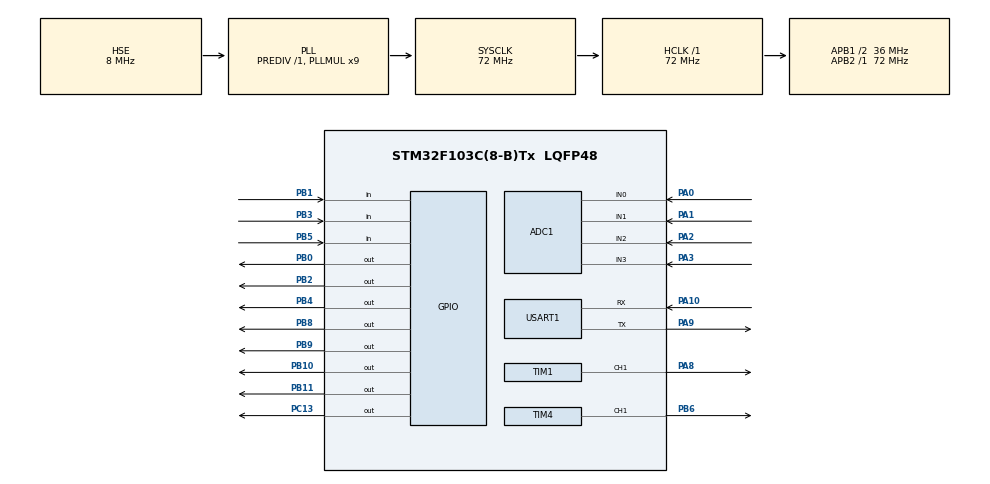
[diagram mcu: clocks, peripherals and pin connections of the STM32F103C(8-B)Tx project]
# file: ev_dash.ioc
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ADC1.Channel-0\#ChannelRegularConversion=ADC_CHANNEL_0
ADC1.ContinuousConvMode=DISABLE
ADC1.NbrOfConversion=1
ADC1.NbrOfConversionFlag=1
ADC1.Rank-0\#ChannelRegularConversion=1
ADC1.SamplingTime-0\#ChannelRegularConversion=ADC_SAMPLETIME_1CYCLE_5
ADC1.master=1
Mcu.Family=STM32F1
Mcu.Name=STM32F103C(8-B)Tx
Mcu.Package=LQFP48
NVIC.PriorityGroup=NVIC_PRIORITYGROUP_4
NVIC.TIM1_UP_IRQn=true\:0\:0\:false\:false\:true\:true\:true\:true
NVIC.TIM3_IRQn=true\:0\:0\:false\:false\:true\:true\:true\:true
PA0-WKUP.Signal=ADCx_IN0
PA1.Signal=ADCx_IN1
PA10.Mode=Asynchronous
PA10.Signal=USART1_RX
PA2.Signal=ADCx_IN2
PA3.Signal=ADCx_IN3
PA8.Signal=S_TIM1_CH1
PA9.Mode=Asynchronous
PA9.Signal=USART1_TX
PB0.Signal=GPIO_Output
PB1.Signal=GPIO_Input
PB10.Signal=GPIO_Output
PB11.Signal=GPIO_Output
PB2.Signal=GPIO_Output
PB3.Signal=GPIO_Input
PB4.Signal=GPIO_Output
PB5.Signal=GPIO_Input
PB6.Signal=S_TIM4_CH1
PB8.Signal=GPIO_Output
PB9.Signal=GPIO_Output
PC13-TAMPER-RTC.Signal=GPIO_Output
PD0-OSC_IN.Mode=HSE-External-Oscillator
PD0-OSC_IN.Signal=RCC_OSC_IN
PD1-OSC_OUT.Mode=HSE-External-Oscillator
PD1-OSC_OUT.Signal=RCC_OSC_OUT
ProjectManager.HeapSize=0x200
ProjectManager.StackSize=0x400
ProjectManager.TargetToolchain=STM32CubeIDE
RCC.ADCPresc=RCC_ADCPCLK2_DIV6
RCC.AHBFreq_Value=72000000
RCC.APB1CLKDivider=RCC_HCLK_DIV2
RCC.APB1Freq_Value=36000000
RCC.APB1TimFreq_Value=72000000
RCC.APB2Freq_Value=72000000
RCC.APB2TimFreq_Value=72000000
RCC.HCLKFreq_Value=72000000
RCC.PLLMUL=RCC_PLL_MUL9
RCC.PLLSourceVirtual=RCC_PLLSOURCE_HSE
RCC.SYSCLKFreq_VALUE=72000000
RCC.SYSCLKSource=RCC_SYSCLKSOURCE_PLLCLK
RCC.USBFreq_Value=72000000
SH.ADCx_IN0.0=ADC1_IN0,IN0
SH.ADCx_IN1.0=ADC1_IN1,IN1
SH.ADCx_IN2.0=ADC1_IN2,IN2
SH.ADCx_IN3.0=ADC1_IN3,IN3
SH.S_TIM1_CH1.0=TIM1_CH1,PWM Generation1 CH1
SH.S_TIM4_CH1.0=TIM4_CH1,PWM Generation1 CH1
TIM1.Channel-PWM\ Generation1\ CH1=TIM_CHANNEL_1
TIM1.Period=9999
TIM1.Prescaler=71
TIM3.Period=999
TIM3.Prescaler=7199
TIM4.Channel-PWM\ Generation1\ CH1=TIM_CHANNEL_1
USART1.VirtualMode=VM_ASYNC
VP_SYS_VS_ND.Mode=No_Debug
VP_TIM1_VS_ClockSourceINT.Mode=Internal
VP_TIM2_VS_ClockSourceINT.Mode=Internal
VP_TIM3_VS_ClockSourceINT.Mode=Internal
VP_TIM4_VS_ClockSourceINT.Mode=Internal
board=custom

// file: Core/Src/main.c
/* USER CODE BEGIN Header */
/**
  ******************************************************************************
  * @file           : main.c
  * @brief          : Main program body
  ******************************************************************************
  * @attention
  *
  * Copyright (c) 2026 STMicroelectronics.
  * All rights reserved.
  *
  * This software is licensed under terms that can be found in the LICENSE file
  * in the root directory of this software component.
  * If no LICENSE file comes with this software, it is provided AS-IS.
  *
  ******************************************************************************
  */
/* USER CODE END Header */
#include "main.h"
#include "ultrasonic.h"
#include <stdio.h>
#include <string.h>
#include "common.h"
#include "ev_control.h"
#include "adas.h"
#include "fault.h"
#include "uart_shell.h"
/* USER CODE BEGIN Includes */
#include "crc16.h"
#include "buzzer.h"
#include "alarm_manager.h"
#include "event_manager.h"
#include "dtc_manager.h"
#include "dal_adc.h"
#include "dal_timer.h"
#include "dal_uart.h"
#include "dal_flash.h"
#include "config_manager.h"
#include "telemetry_encoder.h"
/* USER CODE END Includes */

EV_HandleTypeDef ev;
ADAS_HandleTypeDef adas;
Fault_HandleTypeDef flt;

volatile uint8_t flag_ev = 0;
volatile uint8_t sensor_flag=0;

static uint8_t ev_div = 0;
static uint8_t rx_byte;

char msg[100];

void HAL_TIM_PeriodElapsedCallback(TIM_HandleTypeDef *htim){
	if(htim->Instance==TIM1) flag_ev=1;
	if(htim->Instance==TIM3) sensor_flag=1;
}

ADC_HandleTypeDef hadc1;

TIM_HandleTypeDef htim1;
TIM_HandleTypeDef htim2;
TIM_HandleTypeDef htim3;
TIM_HandleTypeDef htim4;

UART_HandleTypeDef huart1;

void SystemClock_Config(void);
static void MX_GPIO_Init(void);
static void MX_ADC1_Init(void);
static void MX_USART1_UART_Init(void);
static void MX_TIM1_Init(void);
static void MX_TIM3_Init(void);
static void MX_TIM2_Init(void);
static void MX_TIM4_Init(void);
static void Print_Status(void);

int main(void)
{

  /* MCU Configuration--------------------------------------------------------*/

  /* Reset of all peripherals, Initializes the Flash interface and the Systick. */
  HAL_Init();

  /* Configure the system clock */
  SystemClock_Config();

  /* Initialize all configured peripherals */
  MX_GPIO_Init();
  MX_ADC1_Init();
  MX_USART1_UART_Init();
  MX_TIM1_Init();
  MX_TIM3_Init();
  MX_TIM2_Init();
  MX_TIM4_Init();
  /* USER CODE BEGIN 2 */
  EV_Init(&ev);
  HAL_TIM_Base_Start_IT(&htim1);
  HAL_TIM_Base_Start_IT(&htim3);
  HAL_TIM_Base_Start(&htim2);

  /* Initialize Driver Abstraction Layer (DAL) wrappers */
  DAL_ADC_Init(&hadc1);
  DAL_Timer_Init(&htim1, TIM_CHANNEL_1, &htim2);
  DAL_UART_Init(&huart1);
  HAL_UART_Receive_IT(&huart1, &rx_byte, 1);

  /* Load persistent configuration from NVM flash */
  Config_Init();

  HCSR04_Init();
  ADAS_Init(&adas);
  Fault_Init(&flt);
  Buzzer_Init(&htim1, TIM_CHANNEL_1);
  AlarmManager_Init();
  EventManager_Init();
  DTC_Init();
  Shell_Init(&huart1, &ev, &adas, &flt);
  /* USER CODE END 2 */

  /* Infinite loop */
  /* USER CODE BEGIN WHILE */
	  /* USER CODE BEGIN WHILE */
	  while (1)
	  {
	      /* ── EV update every 10ms via TIM1 flag ─────────────────── */
	      if (flag_ev) {
	          flag_ev = 0;

	          EV_ReadADC(&ev);
	          EV_Update(&ev, 0.01f);   /* dt = 10ms */

	          /* Print every 1000ms (every 10 EV ticks) */
	          if (++ev_div >= 10) {
	              ev_div = 0;
	              Print_Status();

	          }
	      }
	      if(sensor_flag == 1)
	      {
	    	  sensor_flag = 0;
	    	  HCSR04_ReadAll();

	    	  ADAS_Update( &adas, &ev);

	    	  Fault_Check(&flt, &ev, &adas);

	    	  Shell_Process();

	    	  /* Update alarm manager priority queues and tick the buzzer */
	    	  AlarmManager_Update();
	    	  Buzzer_Update();

	    	  /* Process and flush diagnostic event queues over UART */
	    	  EventManager_ProcessQueue();
	      }

	      /* Auto-recovery watchdog: Ensure UART receiver is always listening */
	      if (huart1.RxState == HAL_UART_STATE_READY) {
	          HAL_UART_Receive_IT(&huart1, &rx_byte, 1);
	      }
	  }
    /* USER CODE END WHILE */

  }
  /* USER CODE END 3 */

void HAL_UART_RxCpltCallback(UART_HandleTypeDef *huart)
{
	if (huart->Instance==USART1)
	{
		Shell_PushByte(rx_byte);
		HAL_UART_Receive_IT(&huart1, &rx_byte, 1);
	}
}

void HAL_UART_ErrorCallback(UART_HandleTypeDef *huart)
{
	if (huart->Instance==USART1)
	{
		/* Clear overrun, noise, and framing error flags */
		__HAL_UART_CLEAR_OREFLAG(huart);
		__HAL_UART_CLEAR_NEFLAG(huart);
		__HAL_UART_CLEAR_FEFLAG(huart);
		__HAL_UART_CLEAR_PEFLAG(huart);

		/* Re-arm interrupt receive */
		HAL_UART_Receive_IT(&huart1, &rx_byte, 1);
	}
}

static void Print_Status(void)
{
	static uint32_t seq_id = 0;
	TelemetryPacket_t pkt;
	memset(&pkt, 0, sizeof(pkt));

	pkt.timestamp       = HAL_GetTick();
	pkt.seq_id          = seq_id++;
	pkt.speed_kmh       = ev.speed_kmh;
	pkt.soc_pct         = ev.soc;
	pkt.motor_torque    = (int16_t)ev.motor_torque;
	pkt.motor_temp_c    = ev.motor_temp;
	pkt.range_km        = (uint16_t)ev.range_km;
	pkt.accel_pedal     = (uint8_t)ev.accel_pedal;
	pkt.brake_pedal     = (uint8_t)ev.brake_pedal;
	pkt.front_cm        = (uint16_t)adas.front_cm;
	pkt.left_cm         = (uint16_t)adas.left_cm;
	pkt.right_cm        = (uint16_t)adas.right_cm;
	pkt.ttc_sec         = adas.ttc_sec;
	pkt.collision_warn  = adas.collision_warn;
	pkt.blindspot_left  = adas.blindspot_left;
	pkt.blindspot_right = adas.blindspot_right;
	pkt.alarm_priority  = (uint8_t)adas.alarm_priority;
	pkt.fault_flags     = flt.flags;
	pkt.drive_mode      = (uint8_t)ev.drive_mode;

	uint8_t tx_buf[128];
	uint16_t tx_len = Telemetry_EncodePacket(&pkt, tx_buf, sizeof(tx_buf));
	if (tx_len > 0) {
		DAL_UART_Transmit(tx_buf, tx_len);
	}
}
void SystemClock_Config(void)
{
  RCC_OscInitTypeDef RCC_OscInitStruct = {0};
  RCC_ClkInitTypeDef RCC_ClkInitStruct = {0};
  RCC_PeriphCLKInitTypeDef PeriphClkInit = {0};

  /** Initializes the RCC Oscillators according to the specified parameters
  * in the RCC_OscInitTypeDef structure.
  */
  RCC_OscInitStruct.OscillatorType = RCC_OSCILLATORTYPE_HSE;
  RCC_OscInitStruct.HSEState = RCC_HSE_ON;
  RCC_OscInitStruct.HSEPredivValue = RCC_HSE_PREDIV_DIV1;
  RCC_OscInitStruct.HSIState = RCC_HSI_ON;
  RCC_OscInitStruct.PLL.PLLState = RCC_PLL_ON;
  RCC_OscInitStruct.PLL.PLLSource = RCC_PLLSOURCE_HSE;
  RCC_OscInitStruct.PLL.PLLMUL = RCC_PLL_MUL9;
  if (HAL_RCC_OscConfig(&RCC_OscInitStruct) != HAL_OK)
  {
    Error_Handler();
  }

  /** Initializes the CPU, AHB and APB buses clocks
  */
  RCC_ClkInitStruct.ClockType = RCC_CLOCKTYPE_HCLK|RCC_CLOCKTYPE_SYSCLK
                              |RCC_CLOCKTYPE_PCLK1|RCC_CLOCKTYPE_PCLK2;
  RCC_ClkInitStruct.SYSCLKSource = RCC_SYSCLKSOURCE_PLLCLK;
  RCC_ClkInitStruct.AHBCLKDivider = RCC_SYSCLK_DIV1;
  RCC_ClkInitStruct.APB1CLKDivider = RCC_HCLK_DIV2;
  RCC_ClkInitStruct.APB2CLKDivider = RCC_HCLK_DIV1;

  if (HAL_RCC_ClockConfig(&RCC_ClkInitStruct, FLASH_LATENCY_2) != HAL_OK)
  {
    Error_Handler();
  }
  PeriphClkInit.PeriphClockSelection = RCC_PERIPHCLK_ADC;
  PeriphClkInit.AdcClockSelection = RCC_ADCPCLK2_DIV6;
  if (HAL_RCCEx_PeriphCLKConfig(&PeriphClkInit) != HAL_OK)
  {
    Error_Handler();
  }
}

static void MX_ADC1_Init(void)
{

  ADC_ChannelConfTypeDef sConfig = {0};

  /** Common config
  */
  hadc1.Instance = ADC1;
  hadc1.Init.ScanConvMode = ADC_SCAN_DISABLE;
  hadc1.Init.ContinuousConvMode = DISABLE;
  hadc1.Init.DiscontinuousConvMode = DISABLE;
  hadc1.Init.ExternalTrigConv = ADC_SOFTWARE_START;
  hadc1.Init.DataAlign = ADC_DATAALIGN_RIGHT;
  hadc1.Init.NbrOfConversion = 1;
  if (HAL_ADC_Init(&hadc1) != HAL_OK)
  {
    Error_Handler();
  }

  /** Configure Regular Channel
  */
  sConfig.Channel = ADC_CHANNEL_0;
  sConfig.Rank = ADC_REGULAR_RANK_1;
  sConfig.SamplingTime = ADC_SAMPLETIME_1CYCLE_5;
  if (HAL_ADC_ConfigChannel(&hadc1, &sConfig) != HAL_OK)
  {
    Error_Handler();
  }

}

static void MX_TIM1_Init(void)
{

  TIM_ClockConfigTypeDef sClockSourceConfig = {0};
  TIM_MasterConfigTypeDef sMasterConfig = {0};
  TIM_OC_InitTypeDef sConfigOC = {0};
  TIM_BreakDeadTimeConfigTypeDef sBreakDeadTimeConfig = {0};

  htim1.Instance = TIM1;
  htim1.Init.Prescaler = 71;
  htim1.Init.CounterMode = TIM_COUNTERMODE_UP;
  htim1.Init.Period = 9999;
  htim1.Init.ClockDivision = TIM_CLOCKDIVISION_DIV1;
  htim1.Init.RepetitionCounter = 0;
  htim1.Init.AutoReloadPreload = TIM_AUTORELOAD_PRELOAD_DISABLE;
  if (HAL_TIM_Base_Init(&htim1) != HAL_OK)
  {
    Error_Handler();
  }
  sClockSourceConfig.ClockSource = TIM_CLOCKSOURCE_INTERNAL;
  if (HAL_TIM_ConfigClockSource(&htim1, &sClockSourceConfig) != HAL_OK)
  {
    Error_Handler();
  }
  if (HAL_TIM_PWM_Init(&htim1) != HAL_OK)
  {
    Error_Handler();
  }
  sMasterConfig.MasterOutputTrigger = TIM_TRGO_RESET;
  sMasterConfig.MasterSlaveMode = TIM_MASTERSLAVEMODE_DISABLE;
  if (HAL_TIMEx_MasterConfigSynchronization(&htim1, &sMasterConfig) != HAL_OK)
  {
    Error_Handler();
  }
  sConfigOC.OCMode = TIM_OCMODE_PWM1;
  sConfigOC.Pulse = 0;
  sConfigOC.OCPolarity = TIM_OCPOLARITY_HIGH;
  sConfigOC.OCNPolarity = TIM_OCNPOLARITY_HIGH;
  sConfigOC.OCFastMode = TIM_OCFAST_DISABLE;
  sConfigOC.OCIdleState = TIM_OCIDLESTATE_RESET;
  sConfigOC.OCNIdleState = TIM_OCNIDLESTATE_RESET;
  if (HAL_TIM_PWM_ConfigChannel(&htim1, &sConfigOC, TIM_CHANNEL_1) != HAL_OK)
  {
    Error_Handler();
  }
  sBreakDeadTimeConfig.OffStateRunMode = TIM_OSSR_DISABLE;
  sBreakDeadTimeConfig.OffStateIDLEMode = TIM_OSSI_DISABLE;
  sBreakDeadTimeConfig.LockLevel = TIM_LOCKLEVEL_OFF;
  sBreakDeadTimeConfig.DeadTime = 0;
  sBreakDeadTimeConfig.BreakState = TIM_BREAK_DISABLE;
  sBreakDeadTimeConfig.BreakPolarity = TIM_BREAKPOLARITY_HIGH;
  sBreakDeadTimeConfig.AutomaticOutput = TIM_AUTOMATICOUTPUT_DISABLE;
  if (HAL_TIMEx_ConfigBreakDeadTime(&htim1, &sBreakDeadTimeConfig) != HAL_OK)
  {
    Error_Handler();
  }
  HAL_TIM_MspPostInit(&htim1);

}

static void MX_TIM2_Init(void)
{

  TIM_ClockConfigTypeDef sClockSourceConfig = {0};
  TIM_MasterConfigTypeDef sMasterConfig = {0};

  htim2.Instance = TIM2;
  htim2.Init.Prescaler = 0;
  htim2.Init.CounterMode = TIM_COUNTERMODE_UP;
  htim2.Init.Period = 65535;
  htim2.Init.ClockDivision = TIM_CLOCKDIVISION_DIV1;
  htim2.Init.AutoReloadPreload = TIM_AUTORELOAD_PRELOAD_DISABLE;
  if (HAL_TIM_Base_Init(&htim2) != HAL_OK)
  {
    Error_Handler();
  }
  sClockSourceConfig.ClockSource = TIM_CLOCKSOURCE_INTERNAL;
  if (HAL_TIM_ConfigClockSource(&htim2, &sClockSourceConfig) != HAL_OK)
  {
    Error_Handler();
  }
  sMasterConfig.MasterOutputTrigger = TIM_TRGO_RESET;
  sMasterConfig.MasterSlaveMode = TIM_MASTERSLAVEMODE_DISABLE;
  if (HAL_TIMEx_MasterConfigSynchronization(&htim2, &sMasterConfig) != HAL_OK)
  {
    Error_Handler();
  }

}

static void MX_TIM3_Init(void)
{

  TIM_ClockConfigTypeDef sClockSourceConfig = {0};
  TIM_MasterConfigTypeDef sMasterConfig = {0};

  htim3.Instance = TIM3;
  htim3.Init.Prescaler = 7199;
  htim3.Init.CounterMode = TIM_COUNTERMODE_UP;
  htim3.Init.Period = 999;
  htim3.Init.ClockDivision = TIM_CLOCKDIVISION_DIV1;
  htim3.Init.AutoReloadPreload = TIM_AUTORELOAD_PRELOAD_DISABLE;
  if (HAL_TIM_Base_Init(&htim3) != HAL_OK)
  {
    Error_Handler();
  }
  sClockSourceConfig.ClockSource = TIM_CLOCKSOURCE_INTERNAL;
  if (HAL_TIM_ConfigClockSource(&htim3, &sClockSourceConfig) != HAL_OK)
  {
    Error_Handler();
  }
  sMasterConfig.MasterOutputTrigger = TIM_TRGO_RESET;
  sMasterConfig.MasterSlaveMode = TIM_MASTERSLAVEMODE_DISABLE;
  if (HAL_TIMEx_MasterConfigSynchronization(&htim3, &sMasterConfig) != HAL_OK)
  {
    Error_Handler();
  }

}

static void MX_TIM4_Init(void)
{

  TIM_ClockConfigTypeDef sClockSourceConfig = {0};
  TIM_MasterConfigTypeDef sMasterConfig = {0};
  TIM_OC_InitTypeDef sConfigOC = {0};

  htim4.Instance = TIM4;
  htim4.Init.Prescaler = 0;
  htim4.Init.CounterMode = TIM_COUNTERMODE_UP;
  htim4.Init.Period = 65535;
  htim4.Init.ClockDivision = TIM_CLOCKDIVISION_DIV1;
  htim4.Init.AutoReloadPreload = TIM_AUTORELOAD_PRELOAD_DISABLE;
  if (HAL_TIM_Base_Init(&htim4) != HAL_OK)
  {
    Error_Handler();
  }
  sClockSourceConfig.ClockSource = TIM_CLOCKSOURCE_INTERNAL;
  if (HAL_TIM_ConfigClockSource(&htim4, &sClockSourceConfig) != HAL_OK)
  {
    Error_Handler();
  }
  if (HAL_TIM_PWM_Init(&htim4) != HAL_OK)
  {
    Error_Handler();
  }
  sMasterConfig.MasterOutputTrigger = TIM_TRGO_RESET;
  sMasterConfig.MasterSlaveMode = TIM_MASTERSLAVEMODE_DISABLE;
  if (HAL_TIMEx_MasterConfigSynchronization(&htim4, &sMasterConfig) != HAL_OK)
  {
    Error_Handler();
  }
  sConfigOC.OCMode = TIM_OCMODE_PWM1;
  sConfigOC.Pulse = 0;
  sConfigOC.OCPolarity = TIM_OCPOLARITY_HIGH;
  sConfigOC.OCFastMode = TIM_OCFAST_DISABLE;
  if (HAL_TIM_PWM_ConfigChannel(&htim4, &sConfigOC, TIM_CHANNEL_1) != HAL_OK)
  {
    Error_Handler();
  }
  HAL_TIM_MspPostInit(&htim4);

}

static void MX_USART1_UART_Init(void)
{

  huart1.Instance = USART1;
  huart1.Init.BaudRate = 115200;
  huart1.Init.WordLength = UART_WORDLENGTH_8B;
  huart1.Init.StopBits = UART_STOPBITS_1;
  huart1.Init.Parity = UART_PARITY_NONE;
  huart1.Init.Mode = UART_MODE_TX_RX;
  huart1.Init.HwFlowCtl = UART_HWCONTROL_NONE;
  huart1.Init.OverSampling = UART_OVERSAMPLING_16;
  if (HAL_UART_Init(&huart1) != HAL_OK)
  {
    Error_Handler();
  }

}

static void MX_GPIO_Init(void)
{
  GPIO_InitTypeDef GPIO_InitStruct = {0};

  /* GPIO Ports Clock Enable */
  __HAL_RCC_GPIOC_CLK_ENABLE();
  __HAL_RCC_GPIOD_CLK_ENABLE();
  __HAL_RCC_GPIOA_CLK_ENABLE();
  __HAL_RCC_GPIOB_CLK_ENABLE();

  /*Configure GPIO pin Output Level */
  HAL_GPIO_WritePin(GPIOC, GPIO_PIN_13, GPIO_PIN_RESET);

  /*Configure GPIO pin Output Level */
  HAL_GPIO_WritePin(GPIOB, GPIO_PIN_0|GPIO_PIN_2|GPIO_PIN_10|GPIO_PIN_11
                          |GPIO_PIN_4|GPIO_PIN_8|GPIO_PIN_9, GPIO_PIN_RESET);

  /*Configure GPIO pin : PC13 */
  GPIO_InitStruct.Pin = GPIO_PIN_13;
  GPIO_InitStruct.Mode = GPIO_MODE_OUTPUT_PP;
  GPIO_InitStruct.Pull = GPIO_NOPULL;
  GPIO_InitStruct.Speed = GPIO_SPEED_FREQ_LOW;
  HAL_GPIO_Init(GPIOC, &GPIO_InitStruct);

  /*Configure GPIO pins : PB0 PB2 PB10 PB11
                           PB4 PB8 PB9 */
  GPIO_InitStruct.Pin = GPIO_PIN_0|GPIO_PIN_2|GPIO_PIN_10|GPIO_PIN_11
                          |GPIO_PIN_4|GPIO_PIN_8|GPIO_PIN_9;
  GPIO_InitStruct.Mode = GPIO_MODE_OUTPUT_PP;
  GPIO_InitStruct.Pull = GPIO_NOPULL;
  GPIO_InitStruct.Speed = GPIO_SPEED_FREQ_LOW;
  HAL_GPIO_Init(GPIOB, &GPIO_InitStruct);

  /*Configure GPIO pins : PB1 PB3 PB5 */
  GPIO_InitStruct.Pin = GPIO_PIN_1|GPIO_PIN_3|GPIO_PIN_5;
  GPIO_InitStruct.Mode = GPIO_MODE_INPUT;
  GPIO_InitStruct.Pull = GPIO_NOPULL;
  HAL_GPIO_Init(GPIOB, &GPIO_InitStruct);

}

/* USER CODE END 4 */

void Error_Handler(void)
{
  __disable_irq();
  while (1)
  {
  }
}
